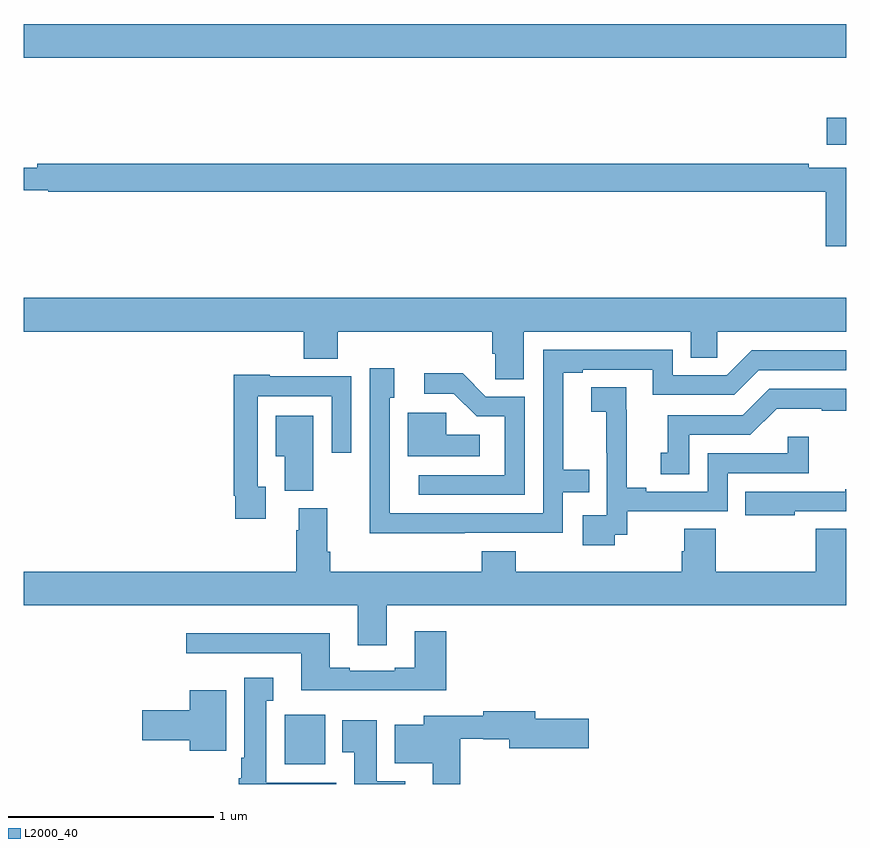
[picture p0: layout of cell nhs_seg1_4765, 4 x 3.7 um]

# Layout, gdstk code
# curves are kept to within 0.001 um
import gdstk
lib = gdstk.Library(unit=1e-6, precision=1e-09)
def R(c, l, rs):  # rectangles x0, y0, x1, y1
    for r in rs: c.add(gdstk.rectangle(r[:2], r[2:], *l))
def P(c, l, *ps):  # polygons
    for p in ps: c.add(gdstk.Polygon(p, *l))
L2000_40 = (2000, 40)

nhs_seg1_4765 = lib.new_cell('nhs_seg1_4765')
R(nhs_seg1_4765, L2000_40, [(370.268,548.294,370.465,548.536), (372.906,551.309,373,551.439), (369,551.732,373,551.896)])
P(nhs_seg1_4765, L2000_40, [(373,551.196),(372.818,551.196),(372.818,551.216),(369.064,551.216),(369.064,551.197),(369,551.197),(369,551.088),(369.118,551.088),(369.118,551.08),(372.902,551.08),(372.902,550.815),(373,550.815)],
  [(371.431,550.4),(372.245,550.4),(372.245,550.273),(372.372,550.273),(372.372,550.4),(373,550.4),(373,550.564),(369,550.564),(369,550.4),(370.361,550.4),(370.361,550.267),(370.526,550.267),(370.526,550.4),(371.279,550.4),(371.279,550.291),(371.292,550.291),(371.292,550.168),(371.431,550.168)],
  [(371.144,549.42),(371.622,549.42),(371.622,549.618),(371.75,549.618),(371.75,549.727),(371.623,549.727),(371.623,550.2),(371.719,550.2),(371.719,550.215),(372.06,550.215),(372.06,550.092),(372.456,550.092),(372.576,550.212),(373,550.212),(373,550.308),(372.54,550.308),(372.42,550.188),(372.156,550.188),(372.156,550.311),(371.526,550.311),(371.526,549.516),(370.779,549.516),(370.779,550.077),(370.801,550.077),(370.801,550.222),(370.683,550.222),(370.682,549.419)],
  [(371.436,550.083),(371.247,550.083),(371.134,550.196),(370.947,550.196),(370.947,550.098),(371.091,550.098),(371.202,549.987),(371.34,549.987),(371.34,549.702),(370.92,549.702),(370.92,549.606),(371.436,549.606)],
  [(370.177,549.645),(370.137,549.645),(370.137,550.086),(370.497,550.086),(370.497,549.81),(370.593,549.81),(370.593,550.182),(370.197,550.182),(370.197,550.189),(370.021,550.189),(370.021,549.601),(370.029,549.601),(370.029,549.489),(370.177,549.489)],
  [(371.874,549.411),(371.936,549.411),(371.936,549.525),(372.423,549.525),(372.423,549.711),(372.818,549.711),(372.818,549.889),(372.717,549.889),(372.717,549.807),(372.327,549.807),(372.327,549.621),(372.028,549.621),(372.028,549.641),(371.932,549.641),(371.932,550.019),(371.93,550.019),(371.93,550.13),(371.76,550.13),(371.76,550.009),(371.834,550.009),(371.834,549.811),(371.835,549.811),(371.835,549.507),(371.718,549.507),(371.718,549.36),(371.874,549.36)],
  [(372.238,549.897),(372.534,549.897),(372.662,550.025),(372.881,550.025),(372.881,550.014),(373,550.014),(373,550.122),(372.627,550.122),(372.498,549.993),(372.131,549.993),(372.131,549.81),(372.098,549.81),(372.098,549.706),(372.238,549.706)],
  [(371.218,549.898),(371.055,549.898),(371.055,550.005),(370.868,550.005),(370.868,549.794),(371.218,549.794)],
  [(370.408,549.991),(370.226,549.991),(370.226,549.794),(370.268,549.794),(370.268,549.625),(370.408,549.625)],
  [(372.751,549.525),(373,549.525),(373,549.634),(372.995,549.634),(372.995,549.621),(372.508,549.621),(372.508,549.506),(372.751,549.506)],
  [(373,549.44),(372.851,549.44),(372.851,549.232),(372.365,549.232),(372.365,549.44),(372.212,549.44),(372.212,549.33),(372.2,549.33),(372.2,549.232),(371.393,549.232),(371.393,549.331),(371.228,549.331),(371.228,549.232),(370.49,549.232),(370.49,549.328),(370.477,549.328),(370.477,549.54),(370.337,549.54),(370.337,549.434),(370.325,549.434),(370.325,549.232),(369,549.232),(369,549.068),(370.625,549.068),(370.625,548.874),(370.765,548.874),(370.765,549.068),(373,549.068)],
  [(371.054,548.941),(370.901,548.941),(370.901,548.764),(370.805,548.764),(370.805,548.751),(370.585,548.751),(370.585,548.764),(370.489,548.764),(370.489,548.932),(369.789,548.932),(369.789,548.835),(370.349,548.835),(370.349,548.654),(371.054,548.654)],
  [(370.519,548.206),(370.18,548.206),(370.18,548.603),(370.213,548.603),(370.213,548.716),(370.073,548.716),(370.073,548.326),(370.058,548.326),(370.058,548.226),(370.046,548.226),(370.046,548.199),(370.519,548.199)],
  [(369.985,548.656),(369.806,548.656),(369.806,548.558),(369.576,548.558),(369.576,548.411),(369.806,548.411),(369.806,548.36),(369.985,548.36)],
  [(371.123,548.42),(371.235,548.42),(371.235,548.416),(371.36,548.416),(371.36,548.374),(371.749,548.374),(371.749,548.516),(371.488,548.516),(371.488,548.552),(371.235,548.552),(371.235,548.532),(370.946,548.532),(370.946,548.488),(370.805,548.488),(370.805,548.3),(370.988,548.3),(370.988,548.199),(371.123,548.199)],
  [(370.856,548.212),(370.717,548.212),(370.717,548.509),(370.55,548.509),(370.55,548.353),(370.607,548.353),(370.607,548.199),(370.856,548.199)])

lib.write_gds('nhs_seg1_4765.gds')
